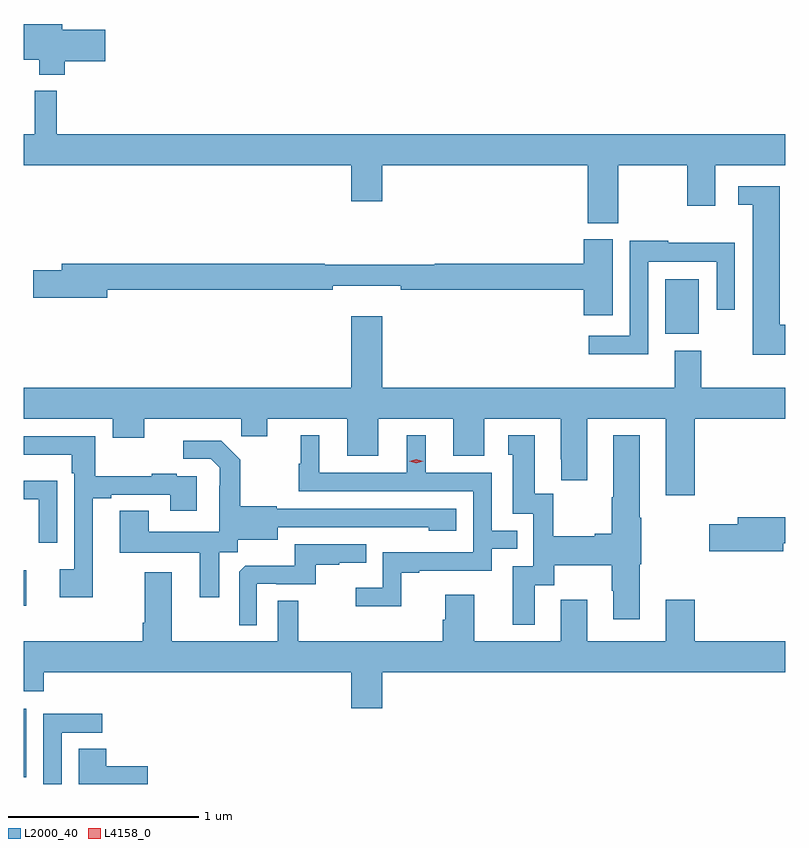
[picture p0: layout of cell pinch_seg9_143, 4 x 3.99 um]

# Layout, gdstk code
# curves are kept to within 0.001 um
import gdstk
lib = gdstk.Library(unit=1e-6, precision=1e-09)
def R(c, l, rs):  # rectangles x0, y0, x1, y1
    for r in rs: c.add(gdstk.rectangle(r[:2], r[2:], *l))
def P(c, l, *ps):  # polygons
    for p in ps: c.add(gdstk.Polygon(p, *l))
L2000_40 = (2000, 40)
L4158_0 = (4158, 0)

pinch_seg9_143 = lib.new_cell('pinch_seg9_143')
R(pinch_seg9_143, L2000_40, [(642.809,1215.849,642.823,1216.21), (642.809,1216.751,642.823,1216.938), (646.178,1218.179,646.354,1218.466)])
P(pinch_seg9_143, L2000_40, [(643.025,1219.612),(643.237,1219.612),(643.237,1219.777),(643.012,1219.777),(643.012,1219.807),(642.809,1219.807),(642.809,1219.619),(642.89,1219.619),(642.89,1219.541),(643.025,1219.541)],
  [(645.933,1219.064),(646.294,1219.064),(646.294,1218.852),(646.441,1218.852),(646.441,1219.064),(646.809,1219.064),(646.809,1219.228),(642.983,1219.228),(642.983,1219.456),(642.866,1219.456),(642.866,1219.228),(642.809,1219.228),(642.809,1219.064),(644.528,1219.064),(644.528,1218.876),(644.692,1218.876),(644.692,1219.064),(645.773,1219.064),(645.773,1218.76),(645.933,1218.76)],
  [(646.809,1218.226),(646.78,1218.226),(646.78,1218.954),(646.563,1218.954),(646.563,1218.857),(646.64,1218.857),(646.64,1218.068),(646.809,1218.068)],
  [(645.904,1218.675),(645.752,1218.675),(645.752,1218.548),(644.968,1218.548),(644.968,1218.541),(644.39,1218.541),(644.39,1218.548),(643.007,1218.548),(643.007,1218.512),(642.858,1218.512),(642.858,1218.37),(643.246,1218.37),(643.246,1218.412),(644.432,1218.412),(644.432,1218.431),(644.788,1218.431),(644.788,1218.412),(645.752,1218.412),(645.752,1218.276),(645.904,1218.276)],
  [(646.089,1218.557),(646.449,1218.557),(646.449,1218.306),(646.545,1218.306),(646.545,1218.658),(646.196,1218.658),(646.196,1218.668),(645.993,1218.668),(645.993,1218.168),(645.777,1218.168),(645.777,1218.071),(646.089,1218.071)],
  [(642.809,1217.732),(643.277,1217.732),(643.277,1217.633),(643.441,1217.633),(643.441,1217.732),(643.951,1217.732),(643.951,1217.642),(644.089,1217.642),(644.089,1217.732),(644.507,1217.732),(644.507,1217.538),(644.671,1217.538),(644.671,1217.732),(645.065,1217.732),(645.065,1217.538),(645.229,1217.538),(645.229,1217.732),(645.629,1217.732),(645.629,1217.521),(645.632,1217.521),(645.632,1217.409),(645.769,1217.409),(645.769,1217.732),(646.181,1217.732),(646.181,1217.331),(646.334,1217.331),(646.334,1217.732),(646.809,1217.732),(646.809,1217.896),(646.369,1217.896),(646.369,1218.091),(646.229,1218.091),(646.229,1217.896),(644.692,1217.896),(644.692,1218.271),(644.528,1218.271),(644.528,1217.896),(642.809,1217.896)],
  [(645.493,1216.858),(645.595,1216.858),(645.595,1216.964),(645.898,1216.964),(645.898,1216.83),(645.905,1216.83),(645.905,1216.68),(646.045,1216.68),(646.045,1216.968),(646.053,1216.968),(646.053,1217.212),(646.045,1217.212),(646.045,1217.647),(645.905,1217.647),(645.905,1217.321),(645.898,1217.321),(645.898,1217.129),(645.809,1217.129),(645.809,1217.116),(645.591,1217.116),(645.591,1217.339),(645.493,1217.339),(645.493,1217.647),(645.353,1217.647),(645.353,1217.544),(645.377,1217.544),(645.377,1217.235),(645.486,1217.235),(645.486,1216.959),(645.377,1216.959),(645.377,1216.65),(645.493,1216.65)],
  [(644.793,1216.923),(644.887,1216.923),(644.887,1216.935),(645.267,1216.935),(645.267,1217.049),(645.401,1217.049),(645.401,1217.145),(645.267,1217.145),(645.267,1217.448),(644.92,1217.448),(644.92,1217.647),(644.822,1217.647),(644.822,1217.448),(644.362,1217.448),(644.362,1217.647),(644.264,1217.647),(644.264,1217.496),(644.253,1217.496),(644.253,1217.352),(645.171,1217.352),(645.171,1217.031),(644.694,1217.031),(644.694,1216.846),(644.553,1216.846),(644.553,1216.748),(644.793,1216.748)],
  [(643.171,1217.316),(643.267,1217.316),(643.267,1217.334),(643.577,1217.334),(643.577,1217.25),(643.717,1217.25),(643.717,1217.43),(643.613,1217.43),(643.613,1217.443),(643.481,1217.443),(643.481,1217.432),(643.183,1217.432),(643.183,1217.64),(642.809,1217.64),(642.809,1217.543),(643.062,1217.543),(643.062,1217.447),(643.074,1217.447),(643.074,1216.942),(642.999,1216.942),(642.999,1216.794),(643.171,1216.794)],
  [(643.837,1217.032),(643.932,1217.032),(643.932,1217.096),(644.143,1217.096),(644.143,1217.163),(644.937,1217.162),(644.937,1217.144),(645.082,1217.144),(645.082,1217.259),(644.139,1217.259),(644.139,1217.272),(643.947,1217.272),(643.947,1217.517),(643.847,1217.617),(643.647,1217.617),(643.647,1217.523),(643.791,1217.523),(643.838,1217.476),(643.838,1217.381),(643.836,1217.381),(643.836,1217.14),(643.465,1217.14),(643.465,1217.249),(643.313,1217.249),(643.313,1217.03),(643.733,1217.03),(643.733,1216.794),(643.837,1216.794)],
  [(642.984,1217.407),(642.809,1217.407),(642.809,1217.31),(642.888,1217.31),(642.888,1217.082),(642.984,1217.082)],
  [(646.798,1217.08),(646.809,1217.08),(646.809,1217.216),(646.559,1217.216),(646.559,1217.18),(646.41,1217.18),(646.41,1217.038),(646.798,1217.038)],
  [(644.034,1216.866),(644.134,1216.866),(644.134,1216.863),(644.342,1216.863),(644.342,1216.965),(644.465,1216.965),(644.465,1216.976),(644.609,1216.976),(644.609,1217.073),(644.232,1217.073),(644.232,1216.961),(643.973,1216.961),(643.941,1216.929),(643.941,1216.649),(644.034,1216.649)],
  [(644.692,1216.4),(646.809,1216.4),(646.809,1216.564),(646.334,1216.564),(646.334,1216.783),(646.181,1216.783),(646.181,1216.564),(645.769,1216.564),(645.769,1216.783),(645.629,1216.783),(645.629,1216.564),(645.175,1216.564),(645.175,1216.807),(645.023,1216.807),(645.023,1216.677),(645.011,1216.677),(645.011,1216.564),(644.251,1216.564),(644.251,1216.778),(644.142,1216.778),(644.142,1216.564),(643.585,1216.564),(643.585,1216.927),(643.445,1216.927),(643.445,1216.66),(643.433,1216.66),(643.433,1216.564),(642.809,1216.564),(642.809,1216.301),(642.914,1216.301),(642.914,1216.4),(644.528,1216.4),(644.528,1216.212),(644.692,1216.212)],
  [(643.008,1216.083),(643.222,1216.083),(643.222,1216.182),(642.912,1216.182),(642.912,1215.814),(643.008,1215.814)],
  [(643.459,1215.908),(643.241,1215.908),(643.241,1215.998),(643.097,1215.998),(643.097,1215.814),(643.459,1215.814)])
P(pinch_seg9_143, L4158_0, [(644.871,1217.5),(644.835,1217.511),(644.835,1217.511),(644.835,1217.511),(644.871,1217.52),(644.907,1217.51),(644.907,1217.51),(644.907,1217.509)])

lib.write_gds('pinch_seg9_143.gds')
